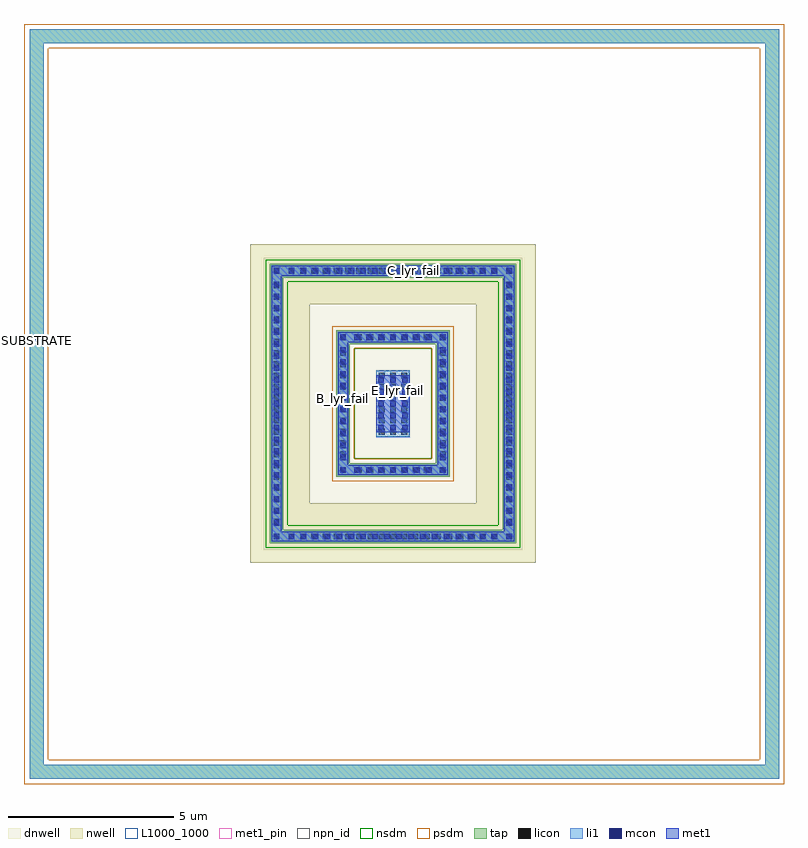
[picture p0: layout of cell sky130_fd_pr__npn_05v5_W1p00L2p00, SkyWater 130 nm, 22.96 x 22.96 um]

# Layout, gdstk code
import gdstk
lib = gdstk.Library(unit=1e-6, precision=1e-09)
def R(c, l, rs):  # rectangles x0, y0, x1, y1
    for r in rs: c.add(gdstk.rectangle(r[:2], r[2:], *l))
def A(c, l, x, y, w, h, nx, ny, dx, dy):  # array of equal rectangles
    R(c, l, [(x+i*dx, y+j*dy, x+i*dx+w, y+j*dy+h) for i in range(nx) for j in range(ny)])
def P(c, l, *ps):  # polygons
    for p in ps: c.add(gdstk.Polygon(p, *l))
dnwell = (64, 18)
nwell = (64, 20)
tap = (65, 44)
licon = (66, 44)
li1 = (67, 20)
mcon = (67, 44)
met1_pin = (68, 16)
met1 = (68, 20)
npn_id = (82, 20)
nsdm = (93, 44)
psdm = (94, 20)
L1000_1000 = (1000, 1000)

sky130_fd_pr__npn_05v5_w = lib.new_cell('sky130_fd_pr__npn_05v5_W1p00L2p00')
R(sky130_fd_pr__npn_05v5_w, dnwell, [(0.4,0.4,8.22,9.22)])
R(sky130_fd_pr__npn_05v5_w, nwell, [(0.865,0.41,7.755,1.18), (0.41,0.855,1.18,8.765), (7.44,0.855,8.21,8.765), (0.865,8.44,7.755,9.21)])
R(sky130_fd_pr__npn_05v5_w, tap, [(1.045,0.59,7.575,1), (0.59,1.035,1,8.585), (7.62,1.035,8.03,8.585), (3.085,2.6,5.535,3.01), (2.6,3.075,3.01,6.545), (5.61,3.075,6.02,6.545), (3.085,6.61,5.535,7.02), (1.045,8.62,7.575,9.03)])
P(sky130_fd_pr__npn_05v5_w, tap, [(-6.666,-6.517),(-6.666,16.123),(15.554,16.123),(15.554,15.703),(-6.246,15.703),(-6.246,-6.097),(15.554,-6.097),(15.554,16.123),(15.974,16.123),(15.974,-6.517)],
  [(5.535,2.6),(5.535,3.01),(5.61,3.01),(5.61,3.085),(6.02,3.085),(6.02,2.6)],
  [(2.6,2.6),(2.6,3.075),(3.01,3.075),(3.01,3.01),(3.085,3.01),(3.085,2.6)],
  [(2.6,6.545),(2.6,7.02),(3.085,7.02),(3.085,6.61),(3.01,6.61),(3.01,6.545)],
  [(5.61,6.545),(5.61,6.61),(5.535,6.61),(5.535,7.02),(6.02,7.02),(6.02,6.545)],
  [(0.59,0.59),(0.59,1.035),(1,1.035),(1,1),(1.045,1),(1.045,0.59)],
  [(7.575,0.59),(7.575,1),(7.62,1),(7.62,1.035),(8.03,1.035),(8.03,0.59)],
  [(7.62,8.585),(7.62,8.62),(7.575,8.62),(7.575,9.03),(8.03,9.03),(8.03,8.585)],
  [(0.59,8.585),(0.59,9.03),(1.045,9.03),(1.045,8.62),(1,8.62),(1,8.585)])
A(sky130_fd_pr__npn_05v5_w, licon, 1.165, 0.71, 0.17, 0.17, 19, 2, 0.34, 8.03)
A(sky130_fd_pr__npn_05v5_w, licon, 0.71, 1.155, 0.17, 0.17, 1, 22, 0, 0.34)
A(sky130_fd_pr__npn_05v5_w, licon, 7.74, 1.155, 0.17, 0.17, 1, 22, 0, 0.34)
A(sky130_fd_pr__npn_05v5_w, licon, 3.205, 2.72, 0.17, 0.17, 7, 2, 0.34, 4.01)
A(sky130_fd_pr__npn_05v5_w, licon, 2.72, 3.195, 0.17, 0.17, 1, 10, 0, 0.34)
A(sky130_fd_pr__npn_05v5_w, licon, 5.73, 3.195, 0.17, 0.17, 1, 10, 0, 0.34)
A(sky130_fd_pr__npn_05v5_w, licon, 3.885, 3.875, 0.17, 0.17, 3, 6, 0.34, 0.34)
R(sky130_fd_pr__npn_05v5_w, licon, [(0.71,0.71,0.88,0.88), (7.74,0.71,7.91,0.88), (2.72,2.72,2.89,2.89), (5.73,2.72,5.9,2.89), (2.72,6.73,2.89,6.9), (5.73,6.73,5.9,6.9), (0.71,8.74,0.88,8.91), (7.74,8.74,7.91,8.91)])
R(sky130_fd_pr__npn_05v5_w, li1, [(1.085,0.63,7.535,0.96), (1.165,0.71,7.455,0.88), (0.63,1.075,0.96,8.545), (7.66,1.075,7.99,8.545), (0.71,1.125,0.88,8.495), (7.74,1.125,7.91,8.495), (3.125,2.64,5.495,2.97), (3.145,2.72,5.475,2.89), (2.72,3.105,2.89,6.515), (5.73,3.105,5.9,6.515), (2.64,3.115,2.97,6.505), (5.65,3.115,5.98,6.505), (3.805,3.795,4.815,5.825), (3.865,4.005,4.755,5.615), (3.125,6.65,5.495,6.98), (3.145,6.73,5.475,6.9), (1.085,8.66,7.535,8.99), (1.165,8.74,7.455,8.91)])
P(sky130_fd_pr__npn_05v5_w, li1, [(-6.666,-6.517),(-6.666,16.123),(15.554,16.123),(15.554,15.703),(-6.246,15.703),(-6.246,-6.097),(15.554,-6.097),(15.554,16.123),(15.974,16.123),(15.974,-6.517)],
  [(2.64,6.505),(2.64,6.98),(3.125,6.98),(3.125,6.65),(2.97,6.65),(2.97,6.505)],
  [(5.65,6.505),(5.65,6.65),(5.495,6.65),(5.495,6.98),(5.98,6.98),(5.98,6.505)],
  [(5.495,2.64),(5.495,2.97),(5.65,2.97),(5.65,3.125),(5.98,3.125),(5.98,2.64)],
  [(0.63,0.63),(0.63,1.075),(0.96,1.075),(0.96,0.96),(1.085,0.96),(1.085,0.63)],
  [(7.535,0.63),(7.535,0.96),(7.66,0.96),(7.66,1.075),(7.99,1.075),(7.99,0.63)],
  [(7.66,8.545),(7.66,8.66),(7.535,8.66),(7.535,8.99),(7.99,8.99),(7.99,8.545)],
  [(0.63,8.545),(0.63,8.99),(1.085,8.99),(1.085,8.66),(0.96,8.66),(0.96,8.545)],
  [(2.64,2.64),(2.64,3.125),(2.97,3.125),(2.97,2.97),(3.125,2.97),(3.125,2.64)])
A(sky130_fd_pr__npn_05v5_w, mcon, 1.165, 0.71, 0.17, 0.17, 18, 2, 0.36, 8.03)
A(sky130_fd_pr__npn_05v5_w, mcon, 0.71, 1.125, 0.17, 0.17, 1, 21, 0, 0.36)
A(sky130_fd_pr__npn_05v5_w, mcon, 7.74, 1.125, 0.17, 0.17, 1, 21, 0, 0.36)
A(sky130_fd_pr__npn_05v5_w, mcon, 3.145, 2.72, 0.17, 0.17, 7, 2, 0.36, 4.01)
A(sky130_fd_pr__npn_05v5_w, mcon, 2.72, 3.105, 0.17, 0.17, 1, 10, 0, 0.36)
A(sky130_fd_pr__npn_05v5_w, mcon, 5.73, 3.105, 0.17, 0.17, 1, 10, 0, 0.36)
A(sky130_fd_pr__npn_05v5_w, mcon, 3.865, 4.005, 0.17, 0.17, 3, 5, 0.36, 0.36)
R(sky130_fd_pr__npn_05v5_w, mcon, [(0.71,0.71,0.88,0.88), (7.74,0.71,7.91,0.88), (2.72,2.72,2.89,2.89), (5.73,2.72,5.9,2.89), (-6.535,6.665,-6.365,6.835), (2.72,6.73,2.89,6.9), (5.73,6.73,5.9,6.9), (0.71,8.74,0.88,8.91), (7.74,8.74,7.91,8.91)])
R(sky130_fd_pr__npn_05v5_w, met1_pin, [(4.021,4.607,4.571,5.137), (2.704,4.758,2.904,5.183), (2.329,8.75,7.314,8.89)])
R(sky130_fd_pr__npn_05v5_w, met1, [(1.105,0.65,7.515,0.94), (0.65,1.065,0.94,8.555), (7.68,1.065,7.97,8.555), (3.085,2.66,5.535,2.95), (2.66,3.045,2.95,6.575), (5.67,3.045,5.96,6.575), (3.805,3.945,4.815,5.675), (3.085,6.67,5.535,6.96), (1.105,8.68,7.515,8.97)])
P(sky130_fd_pr__npn_05v5_w, met1, [(0.65,8.555),(0.65,8.97),(1.105,8.97),(1.105,8.68),(0.94,8.68),(0.94,8.555)],
  [(0.65,0.65),(0.65,1.065),(0.94,1.065),(0.94,0.94),(1.105,0.94),(1.105,0.65)],
  [(7.515,0.65),(7.515,0.94),(7.68,0.94),(7.68,1.065),(7.97,1.065),(7.97,0.65)],
  [(7.68,8.555),(7.68,8.68),(7.515,8.68),(7.515,8.97),(7.97,8.97),(7.97,8.555)],
  [(5.67,6.575),(5.67,6.67),(5.535,6.67),(5.535,6.96),(5.96,6.96),(5.96,6.575)],
  [(2.66,2.66),(2.66,3.045),(2.95,3.045),(2.95,2.95),(3.085,2.95),(3.085,2.66)],
  [(2.66,6.575),(2.66,6.96),(3.085,6.96),(3.085,6.67),(2.95,6.67),(2.95,6.575)],
  [(5.535,2.66),(5.535,2.95),(5.67,2.95),(5.67,3.045),(5.96,3.045),(5.96,2.66)])
R(sky130_fd_pr__npn_05v5_w, npn_id, [(0.59,0.59,8.03,9.03)])
R(sky130_fd_pr__npn_05v5_w, nsdm, [(0.46,0.46,0.915,0.905), (0.915,0.46,7.705,1.13), (7.705,0.46,8.16,0.905), (0.46,0.905,1.13,8.715), (7.49,0.905,8.16,8.715), (3.14,3.14,5.48,6.48), (3.695,3.685,4.925,5.935), (3.705,3.685,4.915,5.935), (0.915,8.49,7.705,9.16), (0.46,8.715,0.915,9.16), (7.705,8.715,8.16,9.16)])
R(sky130_fd_pr__npn_05v5_w, psdm, [(2.47,2.47,2.955,2.955), (2.955,2.47,5.665,3.14), (5.665,2.47,6.15,2.955), (2.47,2.945,3.14,6.675), (5.48,2.945,6.15,6.675), (2.955,6.48,5.665,7.15), (2.47,6.675,2.955,7.15), (5.665,6.675,6.15,7.15)])
P(sky130_fd_pr__npn_05v5_w, psdm, [(-6.836,-6.681),(-6.836,16.279),(15.384,16.279),(15.384,15.539),(-6.096,15.539),(-6.096,-5.941),(15.384,-5.941),(15.384,16.279),(16.124,16.279),(16.124,-6.681)])
R(sky130_fd_pr__npn_05v5_w, L1000_1000, [(3.81,3.81,4.81,5.81), (3.825,3.815,4.795,5.805)])
sky130_fd_pr__npn_05v5_w.add(gdstk.FlexPath([(0.9,1.8),(0.9,8.72),(7.72,8.72),(7.72,0.9),(0,0.9)], 1.8, ends="flush", simple_path=True, layer=64, datatype=20))  # nwell
sky130_fd_pr__npn_05v5_w.add(gdstk.Label('E_lyr_fail', (4.441,5.202), layer=68, texttype=5))
sky130_fd_pr__npn_05v5_w.add(gdstk.Label('B_lyr_fail', (2.794,4.968), layer=68, texttype=5))
sky130_fd_pr__npn_05v5_w.add(gdstk.Label('C_lyr_fail', (4.939,8.82), layer=68, texttype=5))
sky130_fd_pr__npn_05v5_w.add(gdstk.Label('SUBSTRATE', (-6.467,6.728), layer=67, texttype=5))

lib.write_gds('sky130_fd_pr__npn_05v5_W1p00L2p00.gds')
